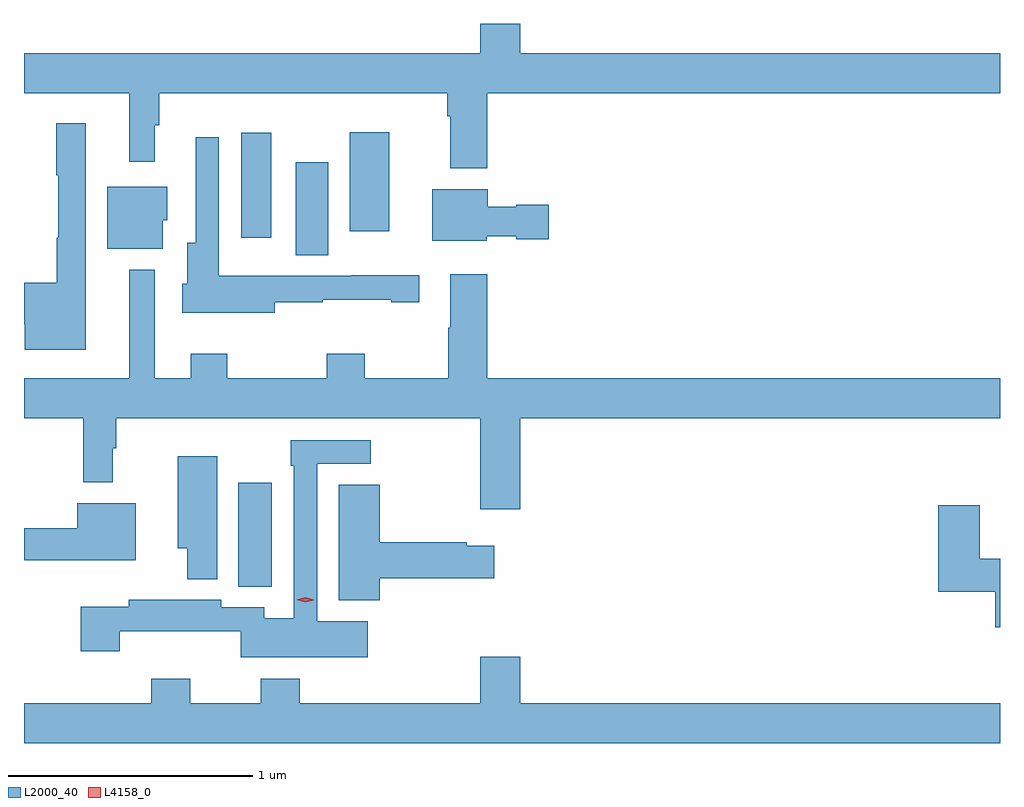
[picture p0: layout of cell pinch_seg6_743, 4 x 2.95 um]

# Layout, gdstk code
import gdstk
lib = gdstk.Library(unit=1e-6, precision=1e-09)
def R(c, l, rs):  # rectangles x0, y0, x1, y1
    for r in rs: c.add(gdstk.rectangle(r[:2], r[2:], *l))
def P(c, l, *ps):  # polygons
    for p in ps: c.add(gdstk.Polygon(p, *l))
L2000_40 = (2000, 40)
L4158_0 = (4158, 0)

pinch_seg6_743 = lib.new_cell('pinch_seg6_743')
R(pinch_seg6_743, L2000_40, [(295.886,990.601,296.023,991.027), (296.12,991.96,296.254,992.341), (295.898,992.031,296.02,992.461), (296.342,992.058,296.503,992.464)])
P(pinch_seg6_743, L2000_40, [(296.906,992.624),(299.007,992.624),(299.007,992.788),(297.04,992.788),(297.04,992.907),(296.876,992.907),(296.876,992.788),(295.007,992.788),(295.007,992.624),(295.439,992.624),(295.439,992.343),(295.543,992.343),(295.543,992.492),(295.561,992.492),(295.561,992.624),(296.741,992.624),(296.741,992.528),(296.753,992.528),(296.753,992.315),(296.906,992.315)],
  [(295.261,992.5),(295.14,992.5),(295.14,992.287),(295.147,992.287),(295.147,992.03),(295.142,992.03),(295.142,991.847),(295.007,991.847),(295.007,991.676),(295.01,991.676),(295.01,991.571),(295.261,991.571)],
  [(296.035,991.767),(296.231,991.767),(296.231,991.777),(296.513,991.777),(296.513,991.767),(296.626,991.767),(296.626,991.877),(296.35,991.877),(296.35,991.875),(296.031,991.875),(296.031,991.876),(295.806,991.876),(295.806,992.443),(295.71,992.443),(295.71,992.011),(295.676,992.011),(295.676,991.842),(295.655,991.842),(295.655,991.724),(296.035,991.724)],
  [(295.576,992.103),(295.594,992.103),(295.594,992.239),(295.349,992.239),(295.349,991.985),(295.576,991.985)],
  [(296.904,992.036),(297.024,992.036),(297.024,992.024),(297.157,992.024),(297.157,992.166),(297.024,992.166),(297.024,992.158),(296.908,992.158),(296.908,992.23),(296.681,992.23),(296.681,992.018),(296.904,992.018)],
  [(295.691,991.555),(295.691,991.456),(295.543,991.456),(295.543,991.9),(295.439,991.9),(295.439,991.456),(295.007,991.456),(295.007,991.292),(295.249,991.292),(295.249,991.029),(295.37,991.029),(295.37,991.169),(295.385,991.169),(295.385,991.292),(296.876,991.292),(296.876,990.918),(297.04,990.918),(297.04,991.292),(299.007,991.292),(299.007,991.456),(296.906,991.456),(296.906,991.882),(296.753,991.882),(296.753,991.661),(296.746,991.661),(296.746,991.456),(296.403,991.456),(296.403,991.555),(296.248,991.555),(296.248,991.456),(295.839,991.456),(295.839,991.555)],
  [(296.416,990.46),(296.208,990.46),(296.208,991.104),(296.428,991.104),(296.428,991.2),(296.1,991.2),(296.1,991.097),(296.112,991.097),(296.112,990.472),(295.992,990.472),(295.992,990.516),(295.816,990.516),(295.816,990.547),(295.436,990.547),(295.436,990.518),(295.24,990.518),(295.24,990.336),(295.4,990.336),(295.4,990.419),(295.896,990.419),(295.896,990.311),(296.416,990.311)],
  [(295.798,991.135),(295.637,991.135),(295.637,990.758),(295.676,990.758),(295.676,990.632),(295.798,990.632)],
  [(296.464,990.635),(296.935,990.635),(296.935,990.769),(296.822,990.769),(296.822,990.782),(296.464,990.782),(296.464,991.019),(296.297,991.019),(296.297,990.545),(296.464,990.545)],
  [(295.465,990.943),(295.226,990.943),(295.226,990.84),(295.007,990.84),(295.007,990.71),(295.465,990.71)],
  [(299.007,990.716),(298.924,990.716),(298.924,990.934),(298.754,990.934),(298.754,990.581),(298.988,990.581),(298.988,990.434),(299.007,990.434)],
  [(299.007,990.124),(297.04,990.124),(297.04,990.313),(296.876,990.313),(296.876,990.124),(296.138,990.124),(296.138,990.223),(295.978,990.223),(295.978,990.124),(295.689,990.124),(295.689,990.223),(295.529,990.223),(295.529,990.124),(295.007,990.124),(295.007,989.96),(299.007,989.96)])
P(pinch_seg6_743, L4158_0, [(296.159,990.537),(296.125,990.547),(296.124,990.547),(296.125,990.548),(296.159,990.557),(296.194,990.547),(296.194,990.546),(296.194,990.546)])

lib.write_gds('pinch_seg6_743.gds')
